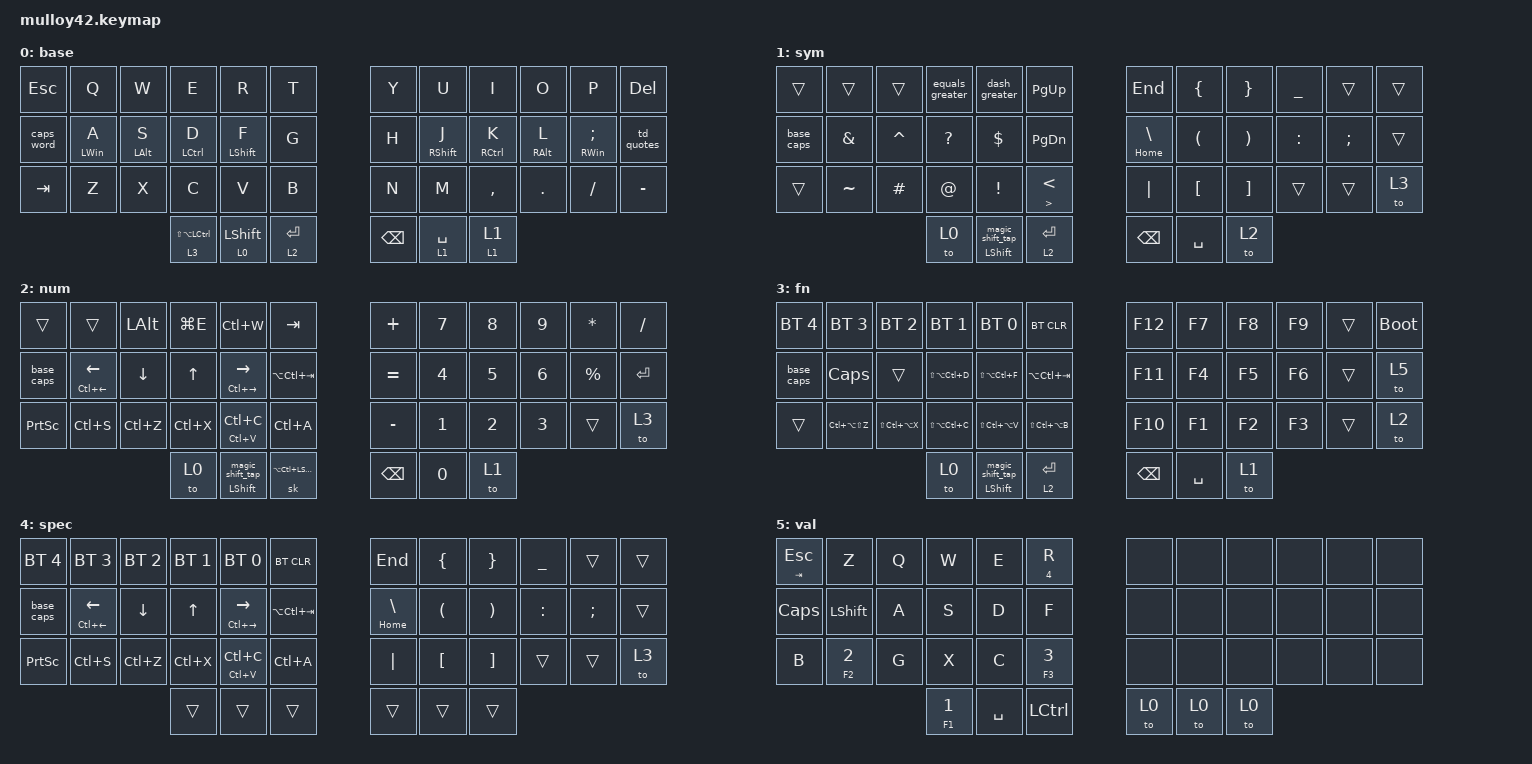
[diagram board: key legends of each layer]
#include <behaviors.dtsi>
#include <dt-bindings/zmk/bt.h>
#include <dt-bindings/zmk/keys.h>

&lt {
        flavor = "balanced";
        tapping-term-ms = <200>;
        quick-tap-ms = <150>;
};

&caps_word {
    // trying to fix issues with bindings to ctrl+ALPHA while caps_word is active
    continue-list = <UNDERSCORE MINUS BACKSPACE DELETE>;
};

/ { 
    behaviors {
        ht: hold_tap {
            compatible = "zmk,behavior-hold-tap";
            #binding-cells = <2>;
            flavor = "tap-preferred";
            tapping-term-ms = <200>;
            quick-tap-ms = <150>;
            bindings = <&kp>, <&kp>;
        };

        mo_tog: behavior_mo_tog {
            compatible = "zmk,behavior-hold-tap";
            #binding-cells = <2>;
            flavor = "hold-preferred";
            tapping-term-ms = <200>;
            bindings = <&mo>, <&tog>;
        };

        lt_sk: layer_tap_sticky_key {
            compatible = "zmk,behavior-hold-tap";
            #binding-cells = <2>;
            flavor = "tap-preferred";
            tapping-term-ms = <200>;
            quick-tap-ms = <150>;
            bindings = <&mo>, <&sk>;
        };

        hml: left_hand_positional_hold_tap {
            compatible = "zmk,behavior-hold-tap";
            #binding-cells = <2>;
            flavor = "balanced";
            tapping-term-ms = <280>;
            quick-tap-ms = <175>;
            require-prior-idle-ms = <150>;

            // Right hand keys + all thumbs
            hold-trigger-key-positions = <6 7 8 9 10 11 18 19 20 21 22 23 30 31 32 33 34 35 36 37 38 39 40 41>;
            hold-trigger-on-release;
            bindings = <&kp>, <&kp>;
        };

        hmr: right_hand_positional_hold_tap {
            compatible = "zmk,behavior-hold-tap";
            #binding-cells = <2>;
            flavor = "balanced";
            tapping-term-ms = <280>;
            quick-tap-ms = <175>;
            require-prior-idle-ms = <150>;

            // Left hand keys + all thumbs
            hold-trigger-key-positions = <0 1 2 3 4 5 12 13 14 15 16 17 24 25 26 27 28 29 36 37 38 39 40 41>;
            hold-trigger-on-release;
            bindings = <&kp>, <&kp>;
        };

        td_quotes: tap_dance_quotes {
            compatible = "zmk,behavior-tap-dance";
            #binding-cells = <0>;
            tapping-term-ms = <180>;
            bindings = <&kp SQT>, <&kp DOUBLE_QUOTES>, <&kp GRAVE>;
        };

        shift_repeat: shift_repeat {
            compatible = "zmk,behavior-adaptive-key";
            #binding-cells = <0>;
            bindings = <&sk LEFT_SHIFT>;

            repeat {
                trigger-keys = <A B C D E F G H I J K L M N O P Q R S T U V W X Y Z>;
                bindings = <&key_repeat>;
                max-prior-idle-ms = <1200>;
                strict-modifiers;
            };
        };

        magic_shift_tap: magic_shift_tap {
            compatible = "zmk,behavior-mod-morph";
            #binding-cells = <0>;
            bindings = <&shift_repeat>, <&caps_word>;
            mods = <(MOD_LSFT)>;
        };

        magic_shift: magic_shift {
            compatible = "zmk,behavior-hold-tap";
            #binding-cells = <2>;
            flavor = "balanced";
            tapping-term-ms = <200>;
            quick-tap-ms = <150>;
            bindings = <&kp>, <&magic_shift_tap>;
        };
    };


    macros {
        dash_greater: dash_greater {
            compatible = "zmk,behavior-macro";
            #binding-cells = <0>;
            bindings
                = <&macro_tap &kp MINUS &kp GREATER_THAN>;
        };

        equals_greater: equals_greater {
            compatible = "zmk,behavior-macro";
            #binding-cells = <0>;
            bindings
                = <&macro_tap &kp EQUAL &kp GREATER_THAN>;
        };

        excel_paste_value: excel_paste_value {
            compatible = "zmk,behavior-macro";
            #binding-cells = <0>;
            bindings
                = <&macro_press   &kp LALT &kp LCTRL>
                , <&macro_tap     &kp V>
                , <&macro_release &kp LALT &kp LCTRL>
                , <&macro_tap     &kp V    &kp ENTER>;
        };

        plus_plus: plus_plus {
            compatible = "zmk,behavior-macro";
            #binding-cells = <0>;
            bindings
                = <&macro_tap &kp PLUS &kp PLUS>;
        };

        amp_amp: amp_amp {
            compatible = "zmk,behavior-macro";
            #binding-cells = <0>;
            bindings
                = <&macro_tap &kp AMPS &kp AMPS>;  
        };

        bar_bar: bar_bar {
            compatible = "zmk,behavior-macro";
            #binding-cells = <0>;
            bindings
                = <&macro_tap &kp PIPE &kp PIPE>;  
        };

        email_josh: email_josh {
            compatible = "zmk,behavior-macro";
            #binding-cells = <0>;
            bindings
                = <&kp J &kp O &kp S &kp H &kp AT &kp M &kp U &kp L &kp L &kp O &kp Y &kp DOT &kp C &kp A>;
        };

        name_josh: name_josh {
            compatible = "zmk,behavior-macro";
            #binding-cells = <0>;
            bindings
                = <&macro_press   &kp LSHIFT>
                , <&macro_tap     &kp J>
                , <&macro_release &kp LSHIFT>
                , <&macro_tap     &kp O &kp S &kp H &kp U &kp A &kp SPACE>
                , <&macro_press   &kp LSHIFT>
                , <&macro_tap     &kp M>
                , <&macro_release &kp LSHIFT>
                , <&macro_tap     &kp U &kp L &kp L &kp O &kp Y>;
        };

        brackets: brackets {
            compatible = "zmk,behavior-macro-two-param";
            #binding-cells = <2>;
            bindings
                = <&macro_param_1to1> 
                , <&macro_tap &kp MACRO_PLACEHOLDER> 
                , <&macro_param_2to1> 
                , <&macro_tap &kp MACRO_PLACEHOLDER>
                , <&kp LEFT>;
        };

        brackets_semi: brackets_semi {
            compatible = "zmk,behavior-macro-two-param";
            #binding-cells = <2>;
            bindings
                = <&macro_param_1to1> 
                , <&macro_tap &kp MACRO_PLACEHOLDER> 
                , <&macro_param_2to1> 
                , <&macro_tap &kp MACRO_PLACEHOLDER>
                , <&kp SEMI>
                , <&kp LEFT>
                , <&kp LEFT>;
        };

        base_caps: base_caps {
            compatible = "zmk,behavior-macro";
            #binding-cells = <0>;
            bindings 
                = <&to 0>, <&caps_word>;
        };

        base_kp: base_kp {
            compatible = "zmk,behavior-macro-one-param";
            #binding-cells = <1>;
            bindings 
                = <&to 0>
                , <&macro_param_1to1> 
                , <&macro_tap &kp MACRO_PLACEHOLDER>;
        };
    };


    combos {
        compatible = "zmk,combos";
        combo_tab {
            timeout-ms = <50>;
            key-positions = <18 19>;
            bindings = <&kp TAB>;
        };

        combo_name {
            timeout-ms = <50>;
            key-positions = <6 7>;
            bindings = <&name_josh>;
            layers = <3>;
        };

        combo_special_layer {
            timeout-ms = <50>;
            key-positions = <38 39>;
            bindings = <&mo 4>;
        };

        combo_excel_paste_value {
            timeout-ms = <50>;
            key-positions = <7 8 9>;
            bindings = <&excel_paste_value>;
            layers = <3>;
        };

        combo_excel_f2 {
            timeout-ms = <50>;
            key-positions = <7 8 9 10>;
            bindings = <&kp F2>;
            layers = <3>;
        };

        combo_plus_plus {
            timeout-ms = <50>;
            key-positions = <4 5>;
            bindings = <&plus_plus>;
            layers = <0>;
        };

        combo_amp_amp {
            timeout-ms = <50>;
            key-positions = <16 17>;
            bindings = <&amp_amp>;
            layers = <0>;
        };

        combo_bar_bar {
            timeout-ms = <50>;
            key-positions = <28 29>;
            bindings = <&bar_bar>;
            layers = <0>;
        };

        combo_period {
            timeout-ms = <50>;
            key-positions = <33 34>;
            bindings = <&kp PERIOD>;
            layers = <2>;
        };

        combo_comma {
            timeout-ms = <50>;
            key-positions = <32 33>;
            bindings = <&kp COMMA>;
            layers = <2>;
        };

        combo_email_josh {
            timeout-ms = <50>;
            key-positions = <31 32 33>;
            bindings = <&email_josh>;
            layers = <0>;
        };

        combo_paren {
            timeout-ms = <50>;
            key-positions = <19 20>;
            bindings = <&brackets LEFT_PARENTHESIS RIGHT_PARENTHESIS>;
            layers = <1>;
        };

        combo_square {
            timeout-ms = <50>;
            key-positions = <31 32>;
            bindings = <&brackets LEFT_BRACKET RIGHT_BRACKET>;
            layers = <1>;
        };

        combo_curly {
            timeout-ms = <50>;
            key-positions = <7 8>;
            bindings = <&brackets LEFT_BRACE RIGHT_BRACE>;
            layers = <1>;
        };

        combo_angle {
            timeout-ms = <50>;
            key-positions = <28 29>;
            bindings = <&brackets GREATER_THAN LESS_THAN>;
            layers = <1>;
        };

        combo_paren_semi {
            timeout-ms = <50>;
            key-positions = <19 20 21>;
            bindings = <&brackets_semi LEFT_PARENTHESIS RIGHT_PARENTHESIS>;
            layers = <1>;
        };

        combo_square_semi {
            timeout-ms = <50>;
            key-positions = <31 32 33>;
            bindings = <&brackets_semi LEFT_BRACKET RIGHT_BRACKET>;
            layers = <1>;
        };

        combo_curly_semi {
            timeout-ms = <50>;
            key-positions = <7 8 9>;
            bindings = <&brackets_semi LEFT_BRACE RIGHT_BRACE>;
            layers = <1>;
        };

        combo_angle_semi {
            timeout-ms = <50>;
            key-positions = <27 28 29>;
            bindings = <&brackets_semi GREATER_THAN LESS_THAN>;
            layers = <1>;
        };

        combo_esc_base {
            timeout-ms = <30>;
            key-positions = <1 2 3>;
            bindings = <&base_kp ESC>;
            layers = <0 1 2 3 4>;
        };

        combo_caps_base {
            timeout-ms = <30>;
            key-positions = <13 14 15>;
            bindings = <&base_caps>;
            layers = <0 1 2 3 4>;
        };

        combo_del_base {
            timeout-ms = <30>;
            key-positions = <8 9 10>;
            bindings = <&base_kp DELETE>;
            layers = <0 1 2 3 4>;
        };
    };

    keymap {
        compatible = "zmk,keymap";

        base {
            display-name = "base";
            // -----------------------------------------------------------------------------------------
            // |  ESC |  Q  |  W  |  E   |  R  |  T  |   |  Y  |  U   |  I  |  O  |  P  | DEL    |
            // |CAPS_W| A/Wn| S/Al| D/Ct | F/Sf|  G  |   |  H  | J/Sf | K/Ct| L/Al| ;/Wn|  '/"/` |
            // |  TAB |  Z  |  X  |  C   |  V  |  B  |   |  N  |  M   |  ,  |  .  |  /  |  -     |
            //                    |Meh/FN|MSHFT| ENT |   | BKSP| SPACE| sym |
            bindings = <
&kp ESCAPE  &kp Q           &kp W           &kp E                  &kp R                        &kp T               &kp Y          &kp U              &kp I            &kp O            &kp P               &kp DELETE
&caps_word  &hml LEFT_WIN A &hml LEFT_ALT S &hml LCTRL D            &hml LEFT_SHIFT F            &kp G               &kp H          &hmr RIGHT_SHIFT J &hmr RCTRL K     &hmr RIGHT_ALT L &hmr RIGHT_WIN SEMI &td_quotes
&kp TAB     &kp Z           &kp X           &kp C                   &kp V                        &kp B               &kp N          &kp M              &kp COMMA        &kp DOT          &kp FSLH            &kp MINUS
                                            &lt_sk 3 LS(LA(LCTRL))  &lt_sk 0 LEFT_SHIFT    &lt 2 ENTER         &kp BACKSPACE  &lt 1 SPACE        &mo_tog 1 1
            >;
        };

        lower {
            display-name = "sym";
            // ----------------------------------------------------------------------------------------
            // | TRNS | TRNS| TRNS|  => |  -> | PG_UP   |   | END |  {  |  }  |  _  | TRNS| TRNS |
            // | TRNS |  &  |  ^  |  ?  |  $  | PG_DOWN |   | \/Hm|  (  |  )  |  :  |  ;  | TRNS |
            // | TRNS |  ~  |  #  |  @  |  !  |  </>    |   |  |  |  [  |  ]  | TRNS| TRNS| TO 3 |
            //                    | TO 0|MSHFT| ENT/NM  |   | BKSP| SPC | TO 2|
            bindings = <
&trans      &trans     &trans     &equals_greater &dash_greater             &kp PAGE_UP                &kp END             &kp LEFT_BRACE        &kp RIGHT_BRACE        &kp UNDERSCORE  &trans         &trans
&base_caps  &kp AMPS   &kp CARET  &kp QUESTION    &kp DOLLAR                &kp PAGE_DOWN              &ht HOME BACKSLASH  &kp LEFT_PARENTHESIS  &kp RIGHT_PARENTHESIS  &kp COLON       &kp SEMICOLON  &trans
&trans      &kp TILDE  &kp HASH   &kp AT_SIGN     &kp EXCL                  &ht GREATER_THAN LESS_THAN &kp PIPE            &kp LEFT_BRACKET      &kp RIGHT_BRACKET      &trans          &trans         &to 3 
                              &to 0           &magic_shift LEFT_SHIFT 0 &lt 2 ENTER                &kp BACKSPACE       &kp SPACE            &to 2
            >;
        };

        upper {
            display-name = "num";
            // -----------------------------------------------------------------------------------------
            // | TRNS | TRNS| LALT| WinE| CtlW| TAB |   |  +  |  7  |  8  |  9  |  *  | / |
            // | TRNS |Lt/Ct| DWN | UP  |Rt/Ct|ACtTb|   |  =  |  4  |  5  |  6  |  %  | ENT  |
            // | PRS  | CtlS| CtlZ| CtlX| CtCV| CtlA|   |  -  |  1  | 2/, | 3/. | TRNS| TO 3 |
            //                    | TO 0|MSHFT|ACtSf|   | BKSP|  0  | TO 1|
            bindings = <
&trans      &trans             &kp LALT   &kp LG(E)  &kp LC(W)            &kp TAB                   &kp PLUS       &kp N7        &kp N8     &kp N9          &kp ASTERISK  &kp SLASH
&base_caps  &ht LC(LEFT) LEFT  &kp DOWN   &kp UP     &ht LC(RIGHT) RIGHT  &kp LA(LC(TAB))           &kp EQUAL      &kp N4        &kp N5     &kp N6          &kp PRCNT     &kp ENTER
&kp PRINTSCREEN  &kp LC(S) &kp LC(Z)  &kp LC(X)  &ht LC(V) LC(C)      &kp LC(A)                 &kp MINUS      &kp N1        &kp N2     &kp N3          &trans        &to 3
                                      &to 0      &magic_shift LEFT_SHIFT 0       &sk LA(LC(LEFT_SHIFT))    &kp BACKSPACE  &kp N0        &to 1
            >;
        };

        function {
            display-name = "fn";
            // -----------------------------------------------------------------------------------------
            // | BT 4 | BT 3| BT 2| BT 1| BT 0|BTCLR|   | F12 |  F7 |  F8 |  F8 | TRNS| BOOT |
            // | TRNS | CAPS| TRNS| MehD| MehF|ACtTb|   | F11 |  F4 |  F5 |  F6 | TRNS| TO 5 |
            // | TRNS | MehZ| MehX| MehC| MehV| MehB|   | F10 |  F1 |  F2 |  F3 | TRNS| TO 2 |
            //                    | TO 0|MSHFT| CTRL|   | BKSP| ENT | TO 1|
            bindings = <
&bt BT_SEL 4  &bt BT_SEL 3       &bt BT_SEL 2       &bt BT_SEL 1       &bt BT_SEL 0       &bt BT_CLR           &kp F12        &kp F7    &kp F8  &kp F9  &trans     &bootloader
&base_caps        &kp CAPSLOCK       &trans             &kp LS(LA(LC(D)))  &kp LS(LA(LC(F)))  &kp LA(LC(TAB))      &kp F11        &kp F4    &kp F5  &kp F6  &trans     &to 5
&trans        &kp LC(LA(LS(Z)))  &kp LS(LC(LA(X)))  &kp LS(LA(LC(C)))  &kp LS(LC(LA(V)))  &kp LS(LC(LA(B)))    &kp F10        &kp F1    &kp F2  &kp F3  &trans     &to 2
                                              &to 0              &magic_shift LEFT_SHIFT 0     &lt 2 ENTER     &kp BACKSPACE  &kp SPACE &to 1
            >;
        };

        special { // layer used to get easy access to arrows/shortcuts/brackets
            display-name = "spec";
            // -----------------------------------------------------------------------------------------
            // | BT 4 | BT 3| BT 2| BT 1| BT 0|BTCLR|   | END |  {  |  }  |  _  | TRNS| TRNS |
            // | TRNS |Lt/Ct| DWN | UP  |Rt/Ct|ACtTb|   | \/Hm|  (  |  )  |  :  |  ;  | TRNS |
            // | TRNS | CtlS| CtlZ| CtlX| CtCV| CtlA|   |  |  |  [  |  ]  | TRNS| TRNS| TO 3 |
            //                    | TRNS| TRNS| TRNS|   | TRNS| TRNS| TRNS|
            bindings = <
&bt BT_SEL 4     &bt BT_SEL 3      &bt BT_SEL 2  &bt BT_SEL 1 &bt BT_SEL 0         &bt BT_CLR         &kp END             &kp LEFT_BRACE        &kp RIGHT_BRACE        &kp UNDERSCORE  &trans         &trans
&base_caps           &ht LC(LEFT) LEFT &kp DOWN      &kp UP       &ht LC(RIGHT) RIGHT  &kp LA(LC(TAB))    &ht HOME BACKSLASH  &kp LEFT_PARENTHESIS  &kp RIGHT_PARENTHESIS  &kp COLON       &kp SEMICOLON  &trans
&kp PRINTSCREEN  &kp LC(S)         &kp LC(Z)     &kp LC(X)    &ht LC(V) LC(C)      &kp LC(A)          &kp PIPE            &kp LEFT_BRACKET      &kp RIGHT_BRACKET      &trans          &trans         &to 3 
                                        &trans &trans &trans &trans &trans &trans
            >;
        };

        valorant { // layer used to play valorant
            display-name = "val";
            bindings = <
// LEFT HALF (Active)                                        // RIGHT HALF (Disabled)
&ht TAB ESC &kp Z  &kp Q  &kp W     &kp E  &ht N4 R         &none &none &none &none &none &none
&kp CAPS   &kp LSHIFT &kp A  &kp S     &kp D  &kp F         &none &none &none &none &none &none
&kp B     &ht F2 N2  &kp G  &kp X     &kp C  &ht F3 N3     &none &none &none &none &none &none
                       &ht F1 N1  &kp SPACE &kp LCTRL            &to 0 &to 0 &to 0
            >;
        };
    };
};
